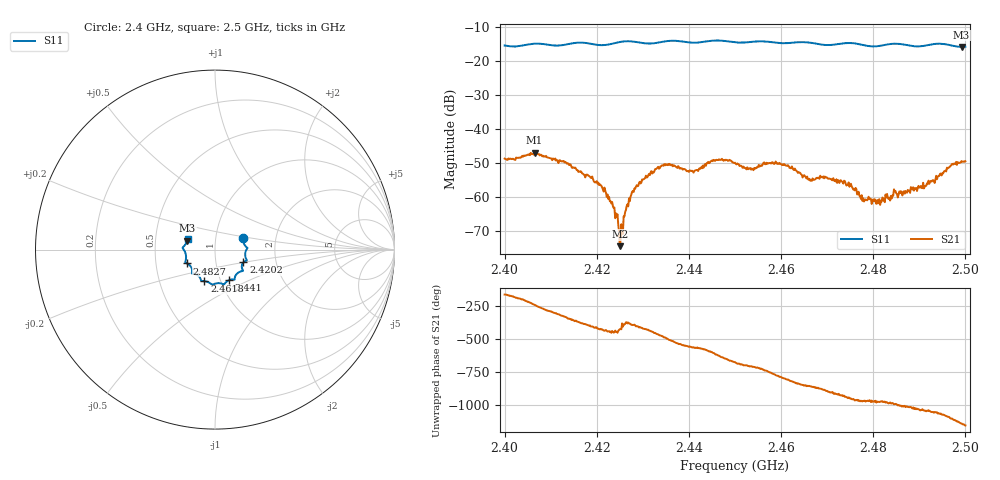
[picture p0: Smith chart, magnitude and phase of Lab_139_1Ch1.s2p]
# Hz S RI R 50
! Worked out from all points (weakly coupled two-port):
!   601 points, 2.4 GHz to 2.5 GHz, reference 50 ohm
!   highest |S21| = -46.91 dB at 2.4065 GHz (marker M1); lowest = -74.4 dB at 2.425 GHz (marker M2)
!   lowest |S11| = -15.8 dB at 2.4992 GHz (marker M3), VSWR 1.39, Z = 36.4 + j3.67 ohm
!   |S11| at or under -10 dB: start of sweep to end of sweep
!   S12 and S22 are empty: the file has one direction only
!   S11 on the Smith chart (normalised r, x): 2.4 GHz: 1.36, +0.18; 2.4202 GHz: 1.36, -0.20; 2.441 GHz: 1.10, -0.39; 2.4618 GHz: 0.84, -0.30; 2.4827 GHz: 0.72, -0.11; 2.5 GHz: 0.73, +0.09
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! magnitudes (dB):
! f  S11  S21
! 2.4 GHz  -15.4  -48.7
! 2.4065 GHz  -14.9  -46.9
! 2.4167 GHz  -14.5  -52.6
! 2.4202 GHz  -15.2  -56.1
! 2.4233 GHz  -14.9  -61.4
! 2.425 GHz  -14.4  -74.4
! 2.4253 GHz  -14.3  -68.0
! 2.4265 GHz  -14.1  -62.6
! 2.4282 GHz  -14.3  -57.5
! 2.4333 GHz  -14.5  -51.1
! 2.441 GHz  -14.6  -52.8
! 2.4455 GHz  -13.9  -49.2
! 2.45 GHz  -14.4  -49.9
! 2.4618 GHz  -14.6  -51.4
! 2.4667 GHz  -14.6  -55.2
! 2.4733 GHz  -14.8  -55.5
! 2.4782 GHz  -15.3  -60.9
! 2.4827 GHz  -15.2  -59.2
! 2.4833 GHz  -15.0  -60.5
! 2.491 GHz  -15.5  -57.5
! 2.4992 GHz  -15.8  -49.4
! 2.5 GHz  -15.7  -49.4
